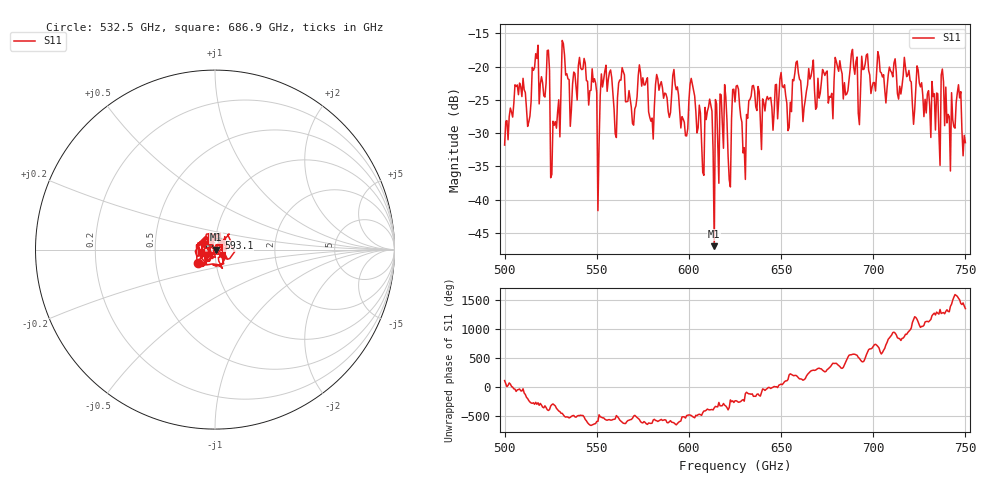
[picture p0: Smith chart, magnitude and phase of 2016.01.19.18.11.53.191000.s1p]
!Created with skrf (http://scikit-rf.org).
# GHz S RI R 50.0
!freq ReS11 ImS11
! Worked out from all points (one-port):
!   401 points, 500 GHz to 750 GHz, reference 50 ohm
!   lowest |S11| = -47.0 dB at 613.8 GHz (marker M1), VSWR 1.01, Z = 50.4 + j0.0445 ohm
!   |S11| at or under -10 dB: start of sweep to end of sweep
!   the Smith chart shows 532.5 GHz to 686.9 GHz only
!   S11 on the Smith chart (normalised r, x): 532.5 GHz: 0.82, -0.13; 593.1 GHz: 1.03, +0.13; 686.9 GHz: 0.85, -0.02
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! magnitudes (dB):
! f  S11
! 500 GHz  -31.8
! 506.9 GHz  -22.8
! 513.1 GHz  -28.3
! 516.9 GHz  -18.1
! 523.1 GHz  -17.6
! 526.2 GHz  -28.2
! 531.2 GHz  -16.1
! 532.5 GHz  -18.2
! 548.8 GHz  -21.8
! 550.6 GHz  -41.7
! 553.8 GHz  -21.9
! 562.5 GHz  -22.0
! 579.4 GHz  -28.2
! 593.1 GHz  -23.5
! 593.8 GHz  -23.1
! 613.8 GHz  -47.0
! 618.8 GHz  -32.3
! 621.9 GHz  -37.0
! 625 GHz  -25.3
! 629.4 GHz  -33.0
! 634.4 GHz  -22.9
! 656.2 GHz  -21.9
! 686.9 GHz  -21.9
! 687.5 GHz  -20.3
! 718.8 GHz  -21.3
! 735 GHz  -24.1
! 746.2 GHz  -22.7
! 750 GHz  -31.4
